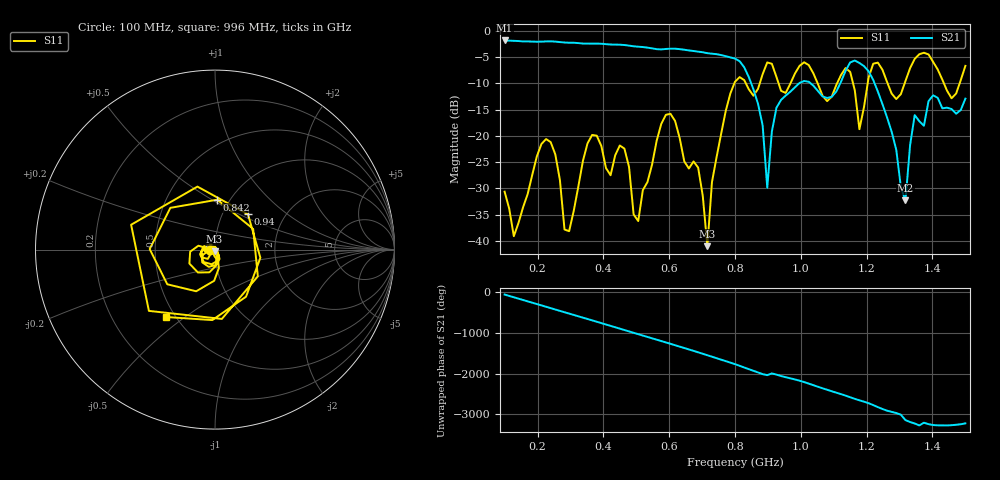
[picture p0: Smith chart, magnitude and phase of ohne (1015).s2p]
! NanoVNA-App
! Date: 2025-09-25 14:28:42
! Start: 100MHz Stop: 1,5GHz Points: 101
! S-Parameter data: F S11 S21 S12 S22
# Hz S RI R 50
!  Frequency  S11_Real  S11_Imag  S21_Real  S21_Imag  S12_Real  S12_Imag  S22_Real  S22_Imag
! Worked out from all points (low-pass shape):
!   101 points, 100 MHz to 1.5 GHz, reference 50 ohm
!   highest |S21| = -1.79 dB at 100 MHz (marker M1); lowest = -32.3 dB at 1.318 GHz (marker M2)
!   |S21| within 3 dB of the highest: start of sweep to 771.8 MHz
!   lowest |S11| = -41.0 dB at 716 MHz (marker M3), VSWR 1.02, Z = 49.7 - j0.849 ohm
!   |S11| at or under -10 dB: start of sweep to 797.9 MHz; 833.2 MHz to 875.1 MHz (41.93 MHz wide, 4.91 % of centre); 1.051 GHz to 1.11 GHz (58.59 MHz wide, 5.42 % of centre) (the widest 3 of 7)
!   S12 and S22 are empty: the file has one direction only
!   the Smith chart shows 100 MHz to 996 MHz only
!   S11 on the Smith chart (normalised r, x): 100 MHz: 0.94, -0.01; 842 MHz: 0.88, +0.53; 940 MHz: 1.32, +0.56; 996 MHz: 0.44, -0.43
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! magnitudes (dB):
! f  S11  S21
! 100 MHz  -30.6  -1.8
! 128 MHz  -39.1  -1.9
! 226 MHz  -20.6  -2.0
! 296 MHz  -38.2  -2.2
! 338 MHz  -24.7  -2.4
! 464 MHz  -22.4  -2.7
! 506 MHz  -36.2  -3.0
! 576 MHz  -17.7  -3.5
! 688 MHz  -26.0  -3.9
! 716 MHz  -41.0  -4.2
! 800 MHz  -9.7  -5.3
! 842 MHz  -11.1  -8.8
! 898 MHz  -6.0  -29.9
! 940 MHz  -11.4  -13.1
! 996 MHz  -6.6  -9.9
! 1.038 GHz  -8.0  -10.4
! 1.178 GHz  -18.7  -6.1
! 1.22 GHz  -6.2  -9.3
! 1.276 GHz  -11.9  -19.2
! 1.318 GHz  -9.5  -32.3
! 1.346 GHz  -5.3  -16.0
! 1.5 GHz  -6.6  -12.9
